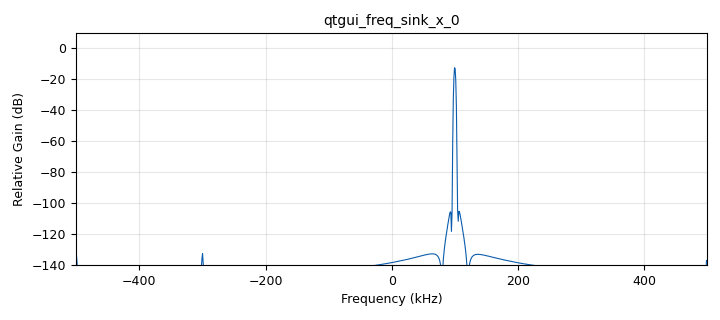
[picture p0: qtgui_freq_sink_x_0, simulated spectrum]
options:
  parameters:
    author: rootr
    generate_options: qt_gui
    generator_class_name: PythonQtGuiGenerator
    generator_module: gnuradio.grc.workflows.python_qt_gui
    id: untitled
    output_language: python
    title: tx_sine
  states: {}

blocks:
- name: freq
  id: variable
  parameters:
    value: 443e6
  states: {}
- name: samp_rate
  id: variable
  parameters:
    value: 1e6
  states: {}
- name: tone_freq
  id: variable
  parameters:
    value: 100e3
  states: {}
- name: analog_sig_source_x_0
  id: analog_sig_source_x
  parameters:
    amp: '0.7'
    freq: tone_freq
    offset: '0'
    phase: '0'
    samp_rate: samp_rate
    type: complex
    waveform: analog.GR_COS_WAVE
  states: {}
- name: qtgui_freq_sink_x_0
  id: qtgui_freq_sink_x
  parameters:
    bw: samp_rate
    fc: '0'
    fftsize: '1024'
    type: complex
  states: {}
- name: soapy_bladerf_sink_0
  id: soapy_bladerf_sink
  parameters:
    center_freq: freq
    gain: '38'
    samp_rate: samp_rate
    type: fc32
  states: {}
- name: soapy_sink_0
  id: soapy_sink
  parameters:
    args: driver=bladerf
    center_freq0: freq
    devname: bladerf
    samp_rate: samp_rate
    txvga1_gain: '30'
    txvga2_gain: '0'
    type: fc32
  states: {state: disabled}

connections:
- [analog_sig_source_x_0, '0', qtgui_freq_sink_x_0, '0']
- [analog_sig_source_x_0, '0', soapy_bladerf_sink_0, '0']
- [analog_sig_source_x_0, '0', soapy_sink_0, '0']

metadata:
  file_format: 1
  grc_version: 3.10.12.0
